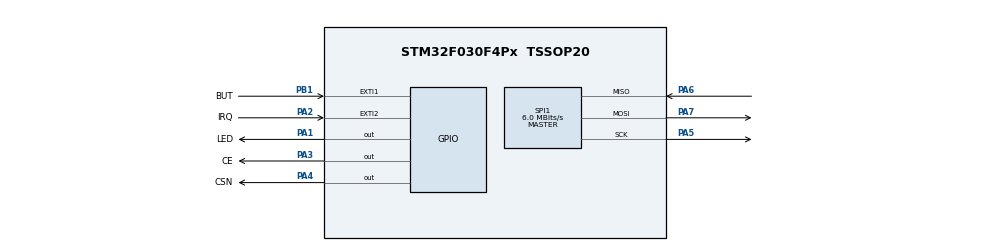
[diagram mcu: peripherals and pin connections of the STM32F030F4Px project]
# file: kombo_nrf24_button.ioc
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ADC.ClockPrescaler=ADC_CLOCK_SYNC_PCLK_DIV4
ADC.SamplingTime=ADC_SAMPLETIME_239CYCLES_5
Mcu.Family=STM32F0
Mcu.Name=STM32F030F4Px
Mcu.Package=TSSOP20
NVIC.EXTI0_1_IRQn=true\:1\:0\:true\:false\:true\:true\:true
NVIC.EXTI2_3_IRQn=true\:2\:0\:true\:false\:true\:true\:true
NVIC.TIM1_BRK_UP_TRG_COM_IRQn=true\:0\:0\:false\:false\:true\:true\:true
PA1.GPIO_Label=LED
PA1.Signal=GPIO_Output
PA13.Mode=Serial_Wire
PA13.Signal=SYS_SWDIO
PA14.Mode=Serial_Wire
PA14.Signal=SYS_SWCLK
PA2.GPIO_Label=IRQ
PA2.GPIO_ModeDefaultEXTI=GPIO_MODE_IT_FALLING
PA2.Signal=GPXTI2
PA3.GPIO_Label=CE
PA3.Signal=GPIO_Output
PA4.GPIO_Label=CSN
PA4.Signal=GPIO_Output
PA5.Mode=Full_Duplex_Master
PA5.Signal=SPI1_SCK
PA6.Mode=Full_Duplex_Master
PA6.Signal=SPI1_MISO
PA7.Mode=Full_Duplex_Master
PA7.Signal=SPI1_MOSI
PB1.GPIO_Label=BUT
PB1.GPIO_ModeDefaultEXTI=GPIO_MODE_IT_FALLING
PB1.GPIO_PuPd=GPIO_PULLUP
PB1.Signal=GPXTI1
PF0-OSC_IN.Mode=HSE-External-Oscillator
PF0-OSC_IN.Signal=RCC_OSC_IN
PF1-OSC_OUT.Mode=HSE-External-Oscillator
PF1-OSC_OUT.Signal=RCC_OSC_OUT
ProjectManager.HeapSize=0x200
ProjectManager.StackSize=0x400
ProjectManager.TargetToolchain=MDK-ARM V5.32
RCC.AHBFreq_Value=48000000
RCC.APB1Freq_Value=48000000
RCC.APB1TimFreq_Value=48000000
RCC.HCLKFreq_Value=48000000
RCC.PLLMUL=RCC_PLL_MUL6
RCC.PLLSourceVirtual=RCC_PLLSOURCE_HSE
RCC.SYSCLKFreq_VALUE=48000000
RCC.SYSCLKSource=RCC_SYSCLKSOURCE_PLLCLK
SPI1.BaudRatePrescaler=SPI_BAUDRATEPRESCALER_8
SPI1.CalculateBaudRate=6.0 MBits/s
SPI1.DataSize=SPI_DATASIZE_8BIT
SPI1.Direction=SPI_DIRECTION_2LINES
SPI1.Mode=SPI_MODE_MASTER
SPI1.VirtualType=VM_MASTER
TIM1.Period=47999
VP_ADC_Vref_Input.Mode=IN-Vrefint
VP_CRC_VS_CRC.Mode=CRC_Activate
VP_IWDG_VS_IWDG.Mode=IWDG_Activate
VP_TIM1_VS_ClockSourceINT.Mode=Internal
board=custom

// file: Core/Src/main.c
/* USER CODE BEGIN Header */
/**
  ******************************************************************************
  * main.c
	*
	* Проект "КомБО" (Открытые системы беспроводной коммуникации)
	* Игровая кнопка электронной системы для проведения интеллектуальных игр
	*
	* Основной код программы.
	* Микроконтроллер: stm32f030f4p6
	* Периферия: радиомодуль nrf24l01+, кнопка, светодиод.
	*
	* Краткое описание работы:
	* После включения питания, настройки периферии производится проверка
	* соединения с радиомодулем, соответствующая сигнализация (пять морганий при
	* исправном радиомодуле, 1 - при неисправности), а затем считывание напряжения
	* питания с целью контроля уровня заряда батареи.
	* При инициализации запускается отсчет времени.
	* В процессе работы постоянно проверяется наличие посылки от базы, периодически
	* измеряется напряжение питания.
	* При срабатывании прерывания по нажатию кнопки фиксируется время нажатия.
	* При получении посылки от базы в зависимости от содержимого:
	* - отправка в ответ статуса кнопки, либо времени, а также значение измеренного
	* напряжения питания
	* - изменение статуса светодиода - зажжен, погашен, либо моргает
	* - сброс состояния устройства
	*
  ******************************************************************************
  */
/* USER CODE END Header */
#include "main.h"
#include "adc.h"
#include "crc.h"
#include "iwdg.h"
#include "spi.h"
#include "tim.h"
#include "gpio.h"

/* USER CODE BEGIN PV */

//флаги
uint8_t f_push_button = 0;
uint8_t f_led_toggle 	= 0;

//переменные измерения времени
uint8_t	 ms_counter 	= 0;
uint32_t millis 			= 0;
uint32_t temp_millis 	= 0;
uint32_t time_ms 			= 0;

//переменные измерения напряжения питания
uint16_t adc_data 		= 0;
float vcc_data;

//внешние переменные для работы с радиомодулем
extern uint8_t tx_buf[TX_PLOAD_WIDTH];	//буфер передачи
extern uint8_t rx_buf[TX_PLOAD_WIDTH];	//буфер приема
extern volatile uint8_t f_rx, f_tx;			//флаги приема и передачи

//структура для преобразования данных
float_to_byte_t float_to_byte;

/* USER CODE END PV */

void SystemClock_Config(void);

/* USER CODE BEGIN 0 */

//Процедура моргания светодиодом
void blink_led(uint8_t blink_counter)
{
	while (blink_counter--)
	{
		LED_ON();
		LL_mDelay(10);
		LED_OFF();
		if (blink_counter >= 1) LL_mDelay(50);
	}
}

//Функция расчета контрольной суммы
uint16_t crc16_calc(volatile uint8_t buf[], uint8_t buf_size)
{
	uint16_t crc = 0;			// возвращаемое значение
	uint16_t D;						// Индекс элемента массива для наложения
	int16_t T;						// Элемент массива для наложения, вычисляется на лету
	uint16_t P = 0x1021;	// Полином - маска

	for (uint8_t i = 0; i < buf_size; i++)
	{
		D = crc >> 8; 			// Сдвиг crc на 8 бит вправо
		D = D ^ buf[i];			// Вычисление индекса элемента массива для наложения

		T = D;							// Вычисление элемента массива
		T = T << 8;        	// Сдвиг элемента массива на 8 бит влево

		for (uint8_t j = 0; j < 8; j++)    // Повторение 8 раз
		{
			if (T < 0)				// Если старший бит = 1
			{
				T = T << 1;				// Сдвиг элемента массива на 1 бит влево
				T = T ^ P;				// Наложение полинома
			}
			else
			{
				T = T << 1;				// Сдвиг элемента массива на 1 бит влево
			}
		}
		crc = crc << 8;				// Сдвиг С на 8 бит влево
		crc = crc ^ T;				// Исключающе или между С и элементом массива
	}

	return crc;							// Возврат значения crc
}

//Подпрограмма тестирования радиомодуля
uint8_t nrf_test(void)
{
	uint8_t buf_0[TX_ADR_WIDTH] = {0};
	uint8_t buf_1[TX_ADR_WIDTH] = {0};
	uint8_t test_addr_0[TX_ADR_WIDTH] = UNIQUE_ADDRESS_0;
	uint8_t test_addr_1[TX_ADR_WIDTH] = UNIQUE_ADDRESS_1;

	uint8_t err = ERR_OK;

	//читаем значения регистров

	#ifdef MASTER
	nrf24_read_buf(RX_ADDR_P1,buf_0,3);
	nrf24_read_buf(TX_ADDR,buf_1,3);
	#endif

	#ifdef SLAVE
	nrf24_read_buf(RX_ADDR_P1,buf_1,3);
	nrf24_read_buf(TX_ADDR,buf_0,3);
	#endif

	//проверяем значения регистров записанных при инициализации и считанных
	for (uint8_t i = 0; i < TX_ADR_WIDTH; i++)
	{
		if (test_addr_0[i] != buf_0[i]) err = NRF_ERR;
		if (test_addr_1[i] != buf_1[i]) err = NRF_ERR;
	}

	return err;
}

//Процедура тестирования радиомодуля и сигнализации
void test_and_info(uint8_t err)
{
	err = nrf_test();

	if (err == ERR_OK)
	{
		blink_led(5);
	}
	else if (err == NRF_ERR)
	{
		blink_led(1);
	}
}

//Процедура приема радиомодуля
void nrf24l01_receive(void)
{
	if(f_rx)	//если флаг приема поднят
	{
		//проверяем контрольную сумму
		uint16_t temp_crc = crc16_calc(rx_buf, TX_PLOAD_WIDTH - 2);
		uint16_t input_crc = (uint16_t)rx_buf[TX_PLOAD_WIDTH - 1] + (uint16_t)(rx_buf[TX_PLOAD_WIDTH - 2] << 8);

		if (temp_crc == input_crc)		//если контрольная сумма сходится
		{
			if (rx_buf[0] == OUR_ADDR)	//если адрес наш
			{
				if (f_push_button)				//если нажатие было
				{
					tx_buf[0] = OUR_ADDR;		//записываем в первый байт адрес

					(*(uint32_t*)&tx_buf[1]) = time_ms;	//в следующие 4 байта пишем значение времени

					float_to_byte.float_val = vcc_data;	//в следующие 4 байта - преобразованное значение напряжения питания
					tx_buf[5] = float_to_byte.char_val[0];
					tx_buf[6] = float_to_byte.char_val[1];
					tx_buf[7] = float_to_byte.char_val[2];
					tx_buf[8] = float_to_byte.char_val[3];
					//рассчитываем контрольную сумму, записываем в последние 4 байта
					temp_crc = crc16_calc(tx_buf, TX_PLOAD_WIDTH - 2);
					tx_buf[TX_PLOAD_WIDTH - 2] = (uint8_t)(temp_crc >> 8);
					tx_buf[TX_PLOAD_WIDTH - 1] = (uint8_t)temp_crc;

					nrf24_send(tx_buf);		//отправляем посылку в эфир
				}
				else										//если нажатия не было
				{
					tx_buf[0] = OUR_ADDR;	//записываем в первый байт адрес
					(*(uint32_t*)&tx_buf[1]) = NOT_PUSHED;	//в следующие 4 - признак ненажатой кнопки

					float_to_byte.float_val = vcc_data;			//в следующие 4 байта - преобразованное значение напряжения питания
					tx_buf[5] = float_to_byte.char_val[0];
					tx_buf[6] = float_to_byte.char_val[1];
					tx_buf[7] = float_to_byte.char_val[2];
					tx_buf[8] = float_to_byte.char_val[3];
					//рассчитываем контрольную сумму, записываем в последние 4 байта
					temp_crc = crc16_calc(tx_buf, TX_PLOAD_WIDTH - 2);
					tx_buf[TX_PLOAD_WIDTH - 2] = (uint8_t)(temp_crc >> 8);
					tx_buf[TX_PLOAD_WIDTH - 1] = (uint8_t)temp_crc;

					nrf24_send(tx_buf);		//отправляем посылку в эфир
				}

				if (rx_buf[1] == LED_STAT)	//если далее идет команда обновления состояния светодиода
				{
					if (rx_buf[2] == LED_STAT_ON)	//если зажечь светодиод
					{
						LED_ON();										//зажигаем
						f_led_toggle = 0;						//опускаем флаг моргания
					}
					else if (rx_buf[2] == LED_STAT_OFF)	//если погасить светодиод
					{
						LED_OFF();									//гасим
						f_led_toggle = 0;						//опускаем флаг моргания
					}
					else if (rx_buf[2] == LED_STAT_TGL)	//если режим моргания
					{
						f_led_toggle = 1;						//поднимаем флаг моргания
					}
				}
			}
			else if (rx_buf[0] == RESET_CMD)	//если команда общего сброса
			{
				blink_led(1);										//моргаем светодиодом 1 раз
				//сбрасываем состояние кнопки - обнуляем счетчики, опускаем флаги
				time_ms = 0;
				millis = 0;
				f_push_button = 0;
				f_led_toggle = 0;
			}
		}
		f_rx = 0;					//опускаем флаг приема
	}
}

//Процедура инициализации АЦП
void adc_init(void)
{
	uint32_t wait_loop_index = 0;	//переменная ожидания калибровки АЦП

	LL_ADC_SetCommonPathInternalCh(ADC1_COMMON,LL_ADC_PATH_INTERNAL_VREFINT);

	//---Кофигурирование АЦП--------------------------------------------------------
	LL_ADC_SetResolution(ADC1, LL_ADC_RESOLUTION_12B);
  LL_ADC_StartCalibration(ADC1);											//запуск калибровки АЦП
  while (LL_ADC_IsCalibrationOnGoing(ADC1) != 0) {}		//ждем окончания калибровки АЦП
	LL_ADC_Enable(ADC1);																//включение АЦП
	//формирование  времени ожидания настройки АЦП
	wait_loop_index = ((LL_ADC_DELAY_CALIB_ENABLE_ADC_CYCLES * 32) >> 1		);
	while(wait_loop_index != 0)													//ожидание
  {
    wait_loop_index--;
  }
}

//Процедура чтения напряжения питания
float reading_vcc(void)
{
	LL_ADC_REG_StartConversion(ADC1);											//запуск преобразования АЦП
	while (!LL_ADC_IsActiveFlag_EOS(ADC1))  {}						//ожидание конца преобразования
	LL_ADC_ClearFlag_EOS(ADC1);														//сброс флага АЦП
	adc_data = LL_ADC_REG_ReadConversionData12(ADC1);			//чтение преобразования 12 бит
	float vcc = 0;
	vcc = (float)(CALIBR_VREF * *VREFINT_CAL) / adc_data; //CALIBR_VREF необходимо откалибровать по измеренному напряжению питания
	return vcc;
}

/* USER CODE END 0 */

int main(void)
{
  /* USER CODE BEGIN 1 */
	uint8_t err = ERR_OK;
  /* USER CODE END 1 */

  /* MCU Configuration--------------------------------------------------------*/

  /* Reset of all peripherals, Initializes the Flash interface and the Systick. */

  LL_APB1_GRP2_EnableClock(LL_APB1_GRP2_PERIPH_SYSCFG);
  LL_APB1_GRP1_EnableClock(LL_APB1_GRP1_PERIPH_PWR);

  /* System interrupt init*/
  /* SysTick_IRQn interrupt configuration */
  NVIC_SetPriority(SysTick_IRQn, 3);

  /* Configure the system clock */
  SystemClock_Config();

  /* Initialize all configured peripherals */
  MX_GPIO_Init();
  MX_SPI1_Init();
  MX_TIM1_Init();
  MX_CRC_Init();
  MX_ADC_Init();
  MX_IWDG_Init();
  /* USER CODE BEGIN 2 */

	adc_init();
	spi_init();				//инициализируем SPI
	nrf24_init();			//инициализируем радиомодуль
	test_and_info(err);

	LL_TIM_EnableIT_UPDATE(TIM1);
	LL_TIM_EnableCounter(TIM1);

	vcc_data = reading_vcc();

  /* USER CODE END 2 */

  /* Infinite loop */
  /* USER CODE BEGIN WHILE */
  while (1)
  {
		nrf24l01_receive(); 	//прием

		//если прошло 10 секунд
		if ((millis - temp_millis) > 10000)
		{
			temp_millis = millis;
			//измеряем напряжение питания
			vcc_data = reading_vcc();
		}

    /* USER CODE END WHILE */

    /* USER CODE BEGIN 3 */
		LL_IWDG_ReloadCounter(IWDG);
  }
  /* USER CODE END 3 */
}

void SystemClock_Config(void)
{
  LL_FLASH_SetLatency(LL_FLASH_LATENCY_1);
  while(LL_FLASH_GetLatency() != LL_FLASH_LATENCY_1)
  {
  }
  LL_RCC_HSE_Enable();

   /* Wait till HSE is ready */
  while(LL_RCC_HSE_IsReady() != 1)
  {

  }
  LL_RCC_LSI_Enable();

   /* Wait till LSI is ready */
  while(LL_RCC_LSI_IsReady() != 1)
  {

  }
  LL_RCC_PLL_ConfigDomain_SYS(LL_RCC_PLLSOURCE_HSE_DIV_1, LL_RCC_PLL_MUL_6);
  LL_RCC_PLL_Enable();

   /* Wait till PLL is ready */
  while(LL_RCC_PLL_IsReady() != 1)
  {

  }
  LL_RCC_SetAHBPrescaler(LL_RCC_SYSCLK_DIV_1);
  LL_RCC_SetAPB1Prescaler(LL_RCC_APB1_DIV_1);
  LL_RCC_SetSysClkSource(LL_RCC_SYS_CLKSOURCE_PLL);

   /* Wait till System clock is ready */
  while(LL_RCC_GetSysClkSource() != LL_RCC_SYS_CLKSOURCE_STATUS_PLL)
  {

  }
  LL_Init1msTick(48000000);
  LL_SetSystemCoreClock(48000000);
}

/* USER CODE BEGIN 4 */
//Процедура обработки прерывания по нажатию кнопки
void but_callback(void)
{
	if (!LL_GPIO_IsInputPinSet(BUT_GPIO_Port, BUT_Pin))
	{
		if (!f_push_button)				//если не поднят флаг нажатия
		{
			f_push_button = 1;			//поднимаем флаг нажатия
			time_ms = millis;				//сохраняем время
		}
	}
}

//Процедура обработки прерывания таймера
void tim1_callback(void)
{
	if(LL_TIM_IsActiveFlag_UPDATE(TIM1))	//если флаг прерывания т/с
	{
		LL_TIM_ClearFlag_UPDATE(TIM1);			//опускаем флаг прерывания
		millis++;														//считаем прошедшую мс

		if (f_led_toggle)										//если режим моргания светодиода
		{
			ms_counter++;											//отсчитываем указанное количество мс
			if (ms_counter >= LED_TGL_MS)
			{
				ms_counter = 0;									//по истечении меняем состояние светодиода
				LED_TGL();
			}
		}
		else ms_counter = 0;								//сброс счетчика
	}
}
/* USER CODE END 4 */

void Error_Handler(void)
{
  __disable_irq();
  while (1)
  {
  }
}
